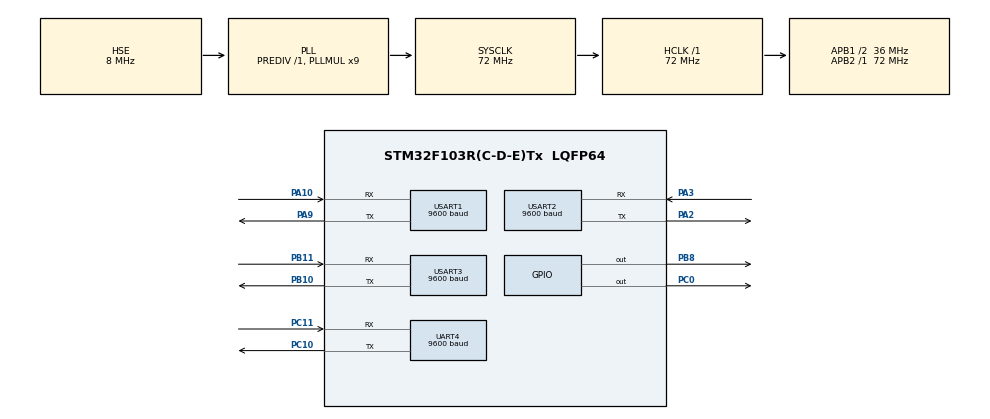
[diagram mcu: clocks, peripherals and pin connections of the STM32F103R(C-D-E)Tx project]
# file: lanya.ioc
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Mcu.Family=STM32F1
Mcu.Name=STM32F103R(C-D-E)Tx
Mcu.Package=LQFP64
NVIC.PriorityGroup=NVIC_PRIORITYGROUP_4
NVIC.TIM7_IRQn=true\:1\:0\:true\:false\:true\:true\:true\:true
NVIC.UART4_IRQn=true\:0\:0\:false\:false\:true\:true\:true\:true
NVIC.USART1_IRQn=true\:0\:0\:false\:false\:true\:true\:true\:true
NVIC.USART2_IRQn=true\:0\:0\:true\:false\:true\:true\:true\:true
NVIC.USART3_IRQn=true\:0\:0\:false\:false\:true\:true\:true\:true
PA10.Mode=Asynchronous
PA10.Signal=USART1_RX
PA13.Mode=Serial_Wire
PA13.Signal=SYS_JTMS-SWDIO
PA14.Mode=Serial_Wire
PA14.Signal=SYS_JTCK-SWCLK
PA2.Mode=Asynchronous
PA2.Signal=USART2_TX
PA3.Mode=Asynchronous
PA3.Signal=USART2_RX
PA9.Mode=Asynchronous
PA9.Signal=USART1_TX
PB10.Mode=Asynchronous
PB10.Signal=USART3_TX
PB11.Mode=Asynchronous
PB11.Signal=USART3_RX
PB8.Signal=GPIO_Output
PC0.GPIO_ModeDefaultOutputPP=GPIO_MODE_OUTPUT_PP
PC0.GPIO_PuPd=GPIO_NOPULL
PC0.Signal=GPIO_Output
PC10.Mode=Asynchronous
PC10.Signal=UART4_TX
PC11.Mode=Asynchronous
PC11.Signal=UART4_RX
PD0-OSC_IN.Mode=HSE-External-Oscillator
PD0-OSC_IN.Signal=RCC_OSC_IN
PD1-OSC_OUT.Mode=HSE-External-Oscillator
PD1-OSC_OUT.Signal=RCC_OSC_OUT
ProjectManager.HeapSize=0x200
ProjectManager.StackSize=0x400
ProjectManager.TargetToolchain=MDK-ARM V5.32
RCC.AHBFreq_Value=72000000
RCC.APB1CLKDivider=RCC_HCLK_DIV2
RCC.APB1Freq_Value=36000000
RCC.APB1TimFreq_Value=72000000
RCC.APB2Freq_Value=72000000
RCC.APB2TimFreq_Value=72000000
RCC.HCLKFreq_Value=72000000
RCC.PLLMUL=RCC_PLL_MUL9
RCC.PLLSourceVirtual=RCC_PLLSOURCE_HSE
RCC.SYSCLKFreq_VALUE=72000000
RCC.SYSCLKSource=RCC_SYSCLKSOURCE_PLLCLK
RCC.USBFreq_Value=72000000
TIM7.Period=200-1
TIM7.Prescaler=7200-1
UART4.BaudRate=9600
UART4.VirtualMode=Asynchronous
USART1.BaudRate=9600
USART1.VirtualMode=VM_ASYNC
USART2.BaudRate=9600
USART2.VirtualMode=VM_ASYNC
USART3.BaudRate=9600
USART3.VirtualMode=VM_ASYNC
VP_TIM7_VS_ClockSourceINT.Mode=Enable_Timer
board=custom

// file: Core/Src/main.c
/* USER CODE BEGIN Header */
/**
  ******************************************************************************
  * @file           : main.c
  * @brief          : Main program body
  ******************************************************************************
  * @attention
  *
  * Copyright (c) 2024 STMicroelectronics.
  * All rights reserved.
  *
  * This software is licensed under terms that can be found in the LICENSE file
  * in the root directory of this software component.
  * If no LICENSE file comes with this software, it is provided AS-IS.
  *
  ******************************************************************************
  */
/* USER CODE END Header */
#include "main.h"
#include "tim.h"
#include "usart.h"
#include "gpio.h"

/* USER CODE BEGIN Includes */
#include "stm32f1xx_it.h"
#include "shijue.h"
#include "bsp_sys.h"
#include "oled.h"
#include "bsp_delay.h"
/* USER CODE END Includes */

/* USER CODE BEGIN PV */

void jiguangbi(){
	HAL_GPIO_TogglePin(GPIOC,GPIO_PIN_0);
		HAL_Delay(500);
	HAL_GPIO_TogglePin(GPIOC,GPIO_PIN_0);
		//HAL_GPIO_WritePin(GPIOC,GPIO_PIN_0,GPIO_PIN_RESET);
}
u8 a=0;
/* USER CODE END PV */

void SystemClock_Config(void);
/* USER CODE BEGIN PFP */
u8 send_time=0;uint8_t buf[5];
/* USER CODE END PFP */

/* USER CODE BEGIN 0 */
/*void delay_ms(u16 nms)
{
 u32 temp;
 SysTick->LOAD = 9000*nms;
 SysTick->VAL=0X00;//清空计数器
 SysTick->CTRL=0X01;//使能，减到零是无动作，采用外部时钟源
 do
 {
  temp=SysTick->CTRL;//读取当前倒计数值
 }while((temp&0x01)&&(!(temp&(1<<16))));//等待时间到达
    SysTick->CTRL=0x00; //关闭计数器
    SysTick->VAL =0X00; //清空计数器
}*/
u8 str=1;//定义要发送的数据
u8 str_buff1[64];
/* USER CODE END 0 */

int main(void)
{

  /* MCU Configuration--------------------------------------------------------*/

  /* Reset of all peripherals, Initializes the Flash interface and the Systick. */
  HAL_Init();

  /* Configure the system clock */
  SystemClock_Config();

  /* Initialize all configured peripherals */
  MX_GPIO_Init();
  MX_USART1_UART_Init();
  MX_TIM7_Init();
  MX_USART2_UART_Init();
  MX_USART3_UART_Init();
  MX_UART4_Init();
  /* USER CODE BEGIN 2 */
	HAL_TIM_Base_Start_IT(&htim7);  //开启总中断
	HAL_UART_Receive_IT(&huart1,&uart1_rxbuff,1);  //通信
		HAL_UART_Receive_IT(&huart2,&uart2_rxbuff,1);  //通信
			HAL_UART_Receive_IT(&huart3,&uart3_rxbuff,1);  //通信
		HAL_UART_Receive_IT(&huart4,&uart4_rxbuff,1);  //通信
			delay_init(72);
	/*delay_ms(100);    //延时一下，让OLED正常输出
	OLED_Init();
	delay_ms(100);    //延时一下，让OLED正常输出*/

  //OLED_Clear();
//	__HAL_UART_ENABLE_IT(&huart1,UART_IT_RXNE);    //串口1
//char a="X";
sprintf((char *)str_buff1, "POS_X %d", Pos_x.S16);
u8 times=0,times2=0;
  /* USER CODE END 2 */

  /* Infinite loop */
  while (1)
  {

    /* USER CODE BEGIN 3 */
  /* HAL_GPIO_WritePin(GPIOB,GPIO_PIN_8,GPIO_PIN_SET);
		HAL_Delay(500);
		HAL_GPIO_WritePin(GPIOB,GPIO_PIN_8,GPIO_PIN_RESET);
			HAL_Delay(500);*/
  times++;
		times2++;
		if(times>10){
		FeiKongTransmitData();
		times=0;
		}
		if(times2>50){
			LanYaTransmitData();
			times2=0;
		}

	//	OLED_ShowChar(10,10,'a',16);

  }
  /* USER CODE END 3 */
}

void SystemClock_Config(void)
{
  RCC_OscInitTypeDef RCC_OscInitStruct = {0};
  RCC_ClkInitTypeDef RCC_ClkInitStruct = {0};

  /** Initializes the RCC Oscillators according to the specified parameters
  * in the RCC_OscInitTypeDef structure.
  */
  RCC_OscInitStruct.OscillatorType = RCC_OSCILLATORTYPE_HSE;
  RCC_OscInitStruct.HSEState = RCC_HSE_ON;
  RCC_OscInitStruct.HSEPredivValue = RCC_HSE_PREDIV_DIV1;
  RCC_OscInitStruct.HSIState = RCC_HSI_ON;
  RCC_OscInitStruct.PLL.PLLState = RCC_PLL_ON;
  RCC_OscInitStruct.PLL.PLLSource = RCC_PLLSOURCE_HSE;
  RCC_OscInitStruct.PLL.PLLMUL = RCC_PLL_MUL9;
  if (HAL_RCC_OscConfig(&RCC_OscInitStruct) != HAL_OK)
  {
    Error_Handler();
  }

  /** Initializes the CPU, AHB and APB buses clocks
  */
  RCC_ClkInitStruct.ClockType = RCC_CLOCKTYPE_HCLK|RCC_CLOCKTYPE_SYSCLK
                              |RCC_CLOCKTYPE_PCLK1|RCC_CLOCKTYPE_PCLK2;
  RCC_ClkInitStruct.SYSCLKSource = RCC_SYSCLKSOURCE_PLLCLK;
  RCC_ClkInitStruct.AHBCLKDivider = RCC_SYSCLK_DIV1;
  RCC_ClkInitStruct.APB1CLKDivider = RCC_HCLK_DIV2;
  RCC_ClkInitStruct.APB2CLKDivider = RCC_HCLK_DIV1;

  if (HAL_RCC_ClockConfig(&RCC_ClkInitStruct, FLASH_LATENCY_2) != HAL_OK)
  {
    Error_Handler();
  }
}

void Error_Handler(void)
{
  __disable_irq();
  while (1)
  {
  }
}
